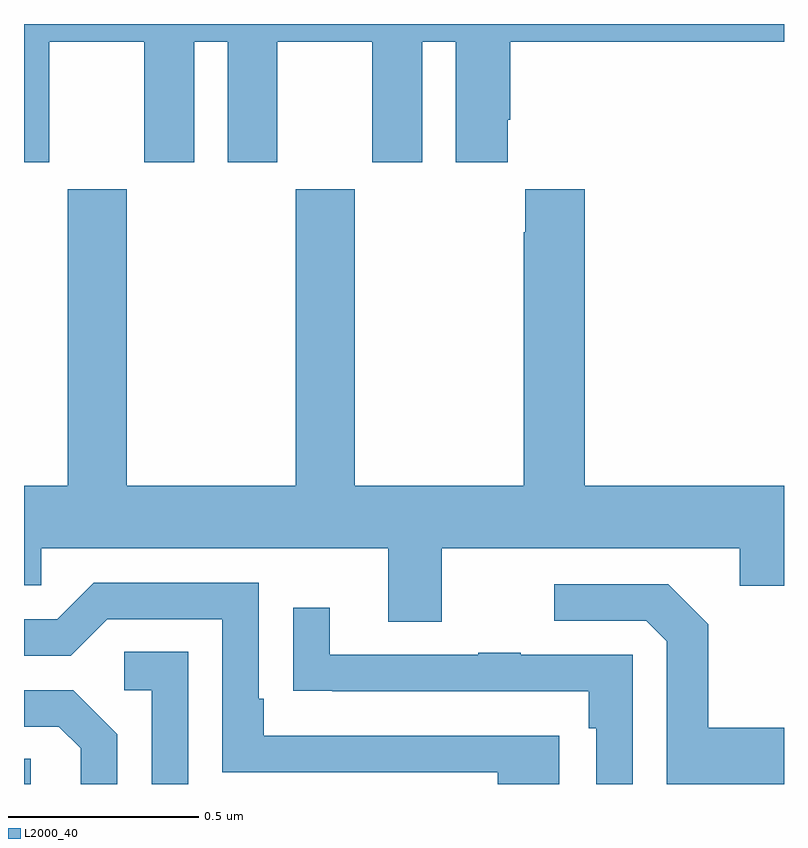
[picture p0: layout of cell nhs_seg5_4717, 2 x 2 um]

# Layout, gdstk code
import gdstk
lib = gdstk.Library(unit=1e-6, precision=1e-09)
def R(c, l, rs):  # rectangles x0, y0, x1, y1
    for r in rs: c.add(gdstk.rectangle(r[:2], r[2:], *l))
def P(c, l, *ps):  # polygons
    for p in ps: c.add(gdstk.Polygon(p, *l))
L2000_40 = (2000, 40)

nhs_seg5_4717 = lib.new_cell('nhs_seg5_4717')
R(nhs_seg5_4717, L2000_40, [(174,862.799,174.018,862.865)])
P(nhs_seg5_4717, L2000_40, [(174,864.435),(174.067,864.435),(174.067,864.752),(174.317,864.752),(174.317,864.435),(174.448,864.435),(174.448,864.752),(174.536,864.752),(174.536,864.435),(174.667,864.435),(174.667,864.752),(174.917,864.752),(174.917,864.435),(175.048,864.435),(175.048,864.752),(175.136,864.752),(175.136,864.435),(175.273,864.435),(175.273,864.547),(175.28,864.547),(175.28,864.752),(176,864.752),(176,864.799),(174,864.799)],
  [(175.099,863.42),(175.883,863.42),(175.883,863.321),(176,863.321),(176,863.584),(175.475,863.584),(175.475,864.364),(175.319,864.364),(175.319,864.251),(175.315,864.251),(175.315,863.584),(174.87,863.584),(174.87,864.364),(174.715,864.364),(174.715,863.584),(174.27,863.584),(174.27,864.364),(174.115,864.364),(174.115,863.584),(174,863.584),(174,863.322),(174.045,863.322),(174.045,863.42),(174.959,863.42),(174.959,863.226),(175.099,863.226)],
  [(175.408,862.926),(174.631,862.926),(174.631,863.023),(174.618,863.023),(174.618,863.328),(174.183,863.328),(174.087,863.232),(174,863.232),(174,863.136),(174.123,863.136),(174.219,863.232),(174.522,863.232),(174.522,862.83),(175.247,862.83),(175.247,862.799),(175.408,862.799)],
  [(176,862.947),(175.801,862.947),(175.801,863.219),(175.695,863.325),(175.395,863.325),(175.395,863.229),(175.638,863.229),(175.692,863.175),(175.692,862.799),(176,862.799)],
  [(175.602,863.139),(175.307,863.139),(175.307,863.144),(175.195,863.144),(175.195,863.139),(174.805,863.139),(174.805,863.263),(174.709,863.263),(174.709,863.044),(174.811,863.044),(174.811,863.043),(175.486,863.043),(175.486,862.946),(175.506,862.946),(175.506,862.799),(175.602,862.799)],
  [(174.432,863.147),(174.264,863.147),(174.264,863.046),(174.336,863.046),(174.336,862.799),(174.432,862.799)],
  [(174.246,862.93),(174.13,863.046),(174,863.046),(174,862.95),(174.092,862.95),(174.149,862.893),(174.149,862.799),(174.246,862.799)])

lib.write_gds('nhs_seg5_4717.gds')
